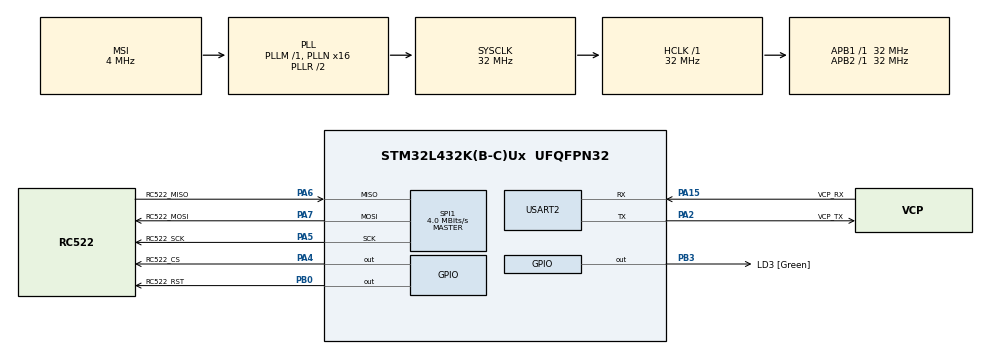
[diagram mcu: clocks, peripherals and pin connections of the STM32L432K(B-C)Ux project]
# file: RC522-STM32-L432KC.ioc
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Mcu.Family=STM32L4
Mcu.Name=STM32L432K(B-C)Ux
Mcu.Package=UFQFPN32
NVIC.PriorityGroup=NVIC_PRIORITYGROUP_4
PA0.GPIO_Label=MCO [High speed clock in]
PA0.Mode=HSE-External-Clock-Source-for-LittleOrca
PA0.Signal=RCC_CK_IN
PA4.GPIO_Label=RC522_CS
PA4.GPIO_ModeDefaultOutputPP=GPIO_MODE_OUTPUT_PP
PA4.GPIO_Speed=GPIO_SPEED_FREQ_LOW
PA4.Signal=GPIO_Output
PA5.GPIO_Label=RC522_SCK
PA5.Mode=Full_Duplex_Master
PA5.Signal=SPI1_SCK
PA6.GPIO_Label=RC522_MISO
PA6.Mode=Full_Duplex_Master
PA6.Signal=SPI1_MISO
PA7.GPIO_Label=RC522_MOSI
PA7.Mode=Full_Duplex_Master
PA7.Signal=SPI1_MOSI
PA13\ (JTMS-SWDIO).GPIO_Label=SWDIO
PA13\ (JTMS-SWDIO).Mode=Serial_Wire
PA13\ (JTMS-SWDIO).Signal=SYS_JTMS-SWDIO
PA14\ (JTCK-SWCLK).GPIO_Label=SWCLK
PA14\ (JTCK-SWCLK).Mode=Serial_Wire
PA14\ (JTCK-SWCLK).Signal=SYS_JTCK-SWCLK
PA15\ (JTDI).GPIO_Label=VCP_RX
PA15\ (JTDI).Mode=Asynchronous
PA15\ (JTDI).Signal=USART2_RX
PA2.GPIO_Label=VCP_TX
PA2.Mode=Asynchronous
PA2.Signal=USART2_TX
PB0.GPIO_Label=RC522_RST
PB0.GPIO_ModeDefaultOutputPP=GPIO_MODE_OUTPUT_PP
PB0.GPIO_Speed=GPIO_SPEED_FREQ_LOW
PB0.Signal=GPIO_Output
PB3\ (JTDO-TRACESWO).GPIO_Label=LD3 [Green]
PB3\ (JTDO-TRACESWO).Signal=GPIO_Output
PC14-OSC32_IN\ (PC14).Mode=LSE-External-Oscillator
PC14-OSC32_IN\ (PC14).Signal=RCC_OSC32_IN
PC15-OSC32_OUT\ (PC15).Mode=LSE-External-Oscillator
PC15-OSC32_OUT\ (PC15).Signal=RCC_OSC32_OUT
ProjectManager.HeapSize=0x200
ProjectManager.StackSize=0x400
ProjectManager.TargetToolchain=STM32CubeIDE
RCC.AHBFreq_Value=32000000
RCC.APB1Freq_Value=32000000
RCC.APB1TimFreq_Value=32000000
RCC.APB2Freq_Value=32000000
RCC.APB2TimFreq_Value=32000000
RCC.CortexFreq_Value=32000000
RCC.HCLKFreq_Value=32000000
RCC.HSE_VALUE=8000000
RCC.HSI16_VALUE=16000000
RCC.HSI48_VALUE=48000000
RCC.HSI_VALUE=16000000
RCC.MSI_VALUE=4000000
RCC.PLLMUL=RCC_PLLMUL_4
RCC.PLLN=16
RCC.SYSCLKFreq_VALUE=32000000
RCC.SYSCLKSource=RCC_SYSCLKSOURCE_PLLCLK
RCC.VCOOutputFreq_Value=64000000
SPI1.BaudRatePrescaler=SPI_BAUDRATEPRESCALER_8
SPI1.CalculateBaudRate=4.0 MBits/s
SPI1.CLKPhase=SPI_PHASE_1EDGE
SPI1.CLKPolarity=SPI_POLARITY_LOW
SPI1.DataSize=SPI_DATASIZE_8BIT
SPI1.Direction=SPI_DIRECTION_2LINES
SPI1.FirstBit=SPI_FIRSTBIT_MSB
SPI1.Mode=SPI_MODE_MASTER
SPI1.NSS=SPI_NSS_SOFT
SPI1.NSSPMode=SPI_NSS_PULSE_DISABLE
SPI1.TIMode=SPI_TIMODE_DISABLE
SPI1.VirtualType=VM_MASTER
USART2.VirtualMode-Asynchronous=VM_ASYNC
board=NUCLEO-L432KC

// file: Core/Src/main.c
/* USER CODE BEGIN Header */
/**
  ******************************************************************************
  * @file           : main.c
  * @brief          : Main program body
  ******************************************************************************
  * @attention
  *
  * Copyright (c) 2026 STMicroelectronics.
  * All rights reserved.
  *
  * This software is licensed under terms that can be found in the LICENSE file
  * in the root directory of this software component.
  * If no LICENSE file comes with this software, it is provided AS-IS.
  *
  ******************************************************************************
  */
/* USER CODE END Header */
#include "main.h"

/* USER CODE BEGIN Includes */
#include <stdio.h>
#include "rc522.h"
/* USER CODE END Includes */

UART_HandleTypeDef huart2;

/* USER CODE BEGIN PV */
SPI_HandleTypeDef hspi1;
/* USER CODE END PV */

void SystemClock_Config(void);
static void MX_GPIO_Init(void);
static void MX_USART2_UART_Init(void);
/* USER CODE BEGIN PFP */
static void MX_SPI1_Init(void);
/* USER CODE END PFP */

/* USER CODE BEGIN 0 */
/* Retarget printf to USART2 via syscalls.c _write → __io_putchar chain */
int __io_putchar(int ch)
{
    HAL_UART_Transmit(&huart2, (uint8_t *)&ch, 1, HAL_MAX_DELAY);
    return ch;
}
/* USER CODE END 0 */

int main(void)
{

  /* MCU Configuration--------------------------------------------------------*/

  /* Reset of all peripherals, Initializes the Flash interface and the Systick. */
  HAL_Init();

  /* Configure the system clock */
  SystemClock_Config();

  /* Initialize all configured peripherals */
  MX_GPIO_Init();
  MX_USART2_UART_Init();
  /* USER CODE BEGIN 2 */
  MX_SPI1_Init();
  RC522_Init();
  printf("RC522 RFID Reader Ready\r\n");
  /* USER CODE END 2 */

  /* Infinite loop */
  while (1)
  {

    /* USER CODE BEGIN 3 */
    uint8_t uid[5];
    uint8_t uid_len;

    if (RC522_ReadCardUID(uid, &uid_len) == MI_OK)
    {
      HAL_GPIO_WritePin(LD3_GPIO_Port, LD3_Pin, GPIO_PIN_SET);

      printf("Card UID:");
      for (uint8_t i = 0; i < uid_len; i++)
      {
        printf(" %02X", uid[i]);
      }
      printf("\r\n");

      HAL_Delay(100);
      HAL_GPIO_WritePin(LD3_GPIO_Port, LD3_Pin, GPIO_PIN_RESET);
    }

    HAL_Delay(400);
    /* USER CODE END 3 */
  }
}

void SystemClock_Config(void)
{
  RCC_OscInitTypeDef RCC_OscInitStruct = {0};
  RCC_ClkInitTypeDef RCC_ClkInitStruct = {0};

  /** Configure the main internal regulator output voltage
  */
  if (HAL_PWREx_ControlVoltageScaling(PWR_REGULATOR_VOLTAGE_SCALE1) != HAL_OK)
  {
    Error_Handler();
  }

  /** Configure LSE Drive Capability
  */
  HAL_PWR_EnableBkUpAccess();
  __HAL_RCC_LSEDRIVE_CONFIG(RCC_LSEDRIVE_LOW);

  /** Initializes the RCC Oscillators according to the specified parameters
  * in the RCC_OscInitTypeDef structure.
  */
  RCC_OscInitStruct.OscillatorType = RCC_OSCILLATORTYPE_LSE|RCC_OSCILLATORTYPE_MSI;
  RCC_OscInitStruct.LSEState = RCC_LSE_ON;
  RCC_OscInitStruct.MSIState = RCC_MSI_ON;
  RCC_OscInitStruct.MSICalibrationValue = 0;
  RCC_OscInitStruct.MSIClockRange = RCC_MSIRANGE_6;
  RCC_OscInitStruct.PLL.PLLState = RCC_PLL_ON;
  RCC_OscInitStruct.PLL.PLLSource = RCC_PLLSOURCE_MSI;
  RCC_OscInitStruct.PLL.PLLM = 1;
  RCC_OscInitStruct.PLL.PLLN = 16;
  RCC_OscInitStruct.PLL.PLLP = RCC_PLLP_DIV7;
  RCC_OscInitStruct.PLL.PLLQ = RCC_PLLQ_DIV2;
  RCC_OscInitStruct.PLL.PLLR = RCC_PLLR_DIV2;
  if (HAL_RCC_OscConfig(&RCC_OscInitStruct) != HAL_OK)
  {
    Error_Handler();
  }

  /** Initializes the CPU, AHB and APB buses clocks
  */
  RCC_ClkInitStruct.ClockType = RCC_CLOCKTYPE_HCLK|RCC_CLOCKTYPE_SYSCLK
                              |RCC_CLOCKTYPE_PCLK1|RCC_CLOCKTYPE_PCLK2;
  RCC_ClkInitStruct.SYSCLKSource = RCC_SYSCLKSOURCE_PLLCLK;
  RCC_ClkInitStruct.AHBCLKDivider = RCC_SYSCLK_DIV1;
  RCC_ClkInitStruct.APB1CLKDivider = RCC_HCLK_DIV1;
  RCC_ClkInitStruct.APB2CLKDivider = RCC_HCLK_DIV1;

  if (HAL_RCC_ClockConfig(&RCC_ClkInitStruct, FLASH_LATENCY_1) != HAL_OK)
  {
    Error_Handler();
  }

  /** Enable MSI Auto calibration
  */
  HAL_RCCEx_EnableMSIPLLMode();
}

static void MX_USART2_UART_Init(void)
{

  huart2.Instance = USART2;
  huart2.Init.BaudRate = 115200;
  huart2.Init.WordLength = UART_WORDLENGTH_8B;
  huart2.Init.StopBits = UART_STOPBITS_1;
  huart2.Init.Parity = UART_PARITY_NONE;
  huart2.Init.Mode = UART_MODE_TX_RX;
  huart2.Init.HwFlowCtl = UART_HWCONTROL_NONE;
  huart2.Init.OverSampling = UART_OVERSAMPLING_16;
  huart2.Init.OneBitSampling = UART_ONE_BIT_SAMPLE_DISABLE;
  huart2.AdvancedInit.AdvFeatureInit = UART_ADVFEATURE_NO_INIT;
  if (HAL_UART_Init(&huart2) != HAL_OK)
  {
    Error_Handler();
  }

}

static void MX_GPIO_Init(void)
{
  GPIO_InitTypeDef GPIO_InitStruct = {0};

  /* GPIO Ports Clock Enable */
  __HAL_RCC_GPIOC_CLK_ENABLE();
  __HAL_RCC_GPIOA_CLK_ENABLE();
  __HAL_RCC_GPIOB_CLK_ENABLE();

  /*Configure GPIO pin Output Level */
  HAL_GPIO_WritePin(LD3_GPIO_Port, LD3_Pin, GPIO_PIN_RESET);

  /*Configure GPIO pin : LD3_Pin */
  GPIO_InitStruct.Pin = LD3_Pin;
  GPIO_InitStruct.Mode = GPIO_MODE_OUTPUT_PP;
  GPIO_InitStruct.Pull = GPIO_NOPULL;
  GPIO_InitStruct.Speed = GPIO_SPEED_FREQ_LOW;
  HAL_GPIO_Init(LD3_GPIO_Port, &GPIO_InitStruct);

}

/* USER CODE BEGIN 4 */

/**
  * @brief SPI1 Initialization Function
  *   PA5 = SPI1_SCK (AF5)   PA6 = SPI1_MISO (AF5)   PA7 = SPI1_MOSI (AF5)
  *   PA4 = RC522_CS  (GPIO output, active LOW)
  *   PB0 = RC522_RST (GPIO output, active HIGH)
  */
static void MX_SPI1_Init(void)
{
  GPIO_InitTypeDef GPIO_InitStruct = {0};

  __HAL_RCC_SPI1_CLK_ENABLE();
  /* GPIOA and GPIOB clocks already enabled by MX_GPIO_Init */

  /* PA5=SCK, PA6=MISO, PA7=MOSI — alternate function SPI1 */
  GPIO_InitStruct.Pin       = GPIO_PIN_5 | GPIO_PIN_6 | GPIO_PIN_7;
  GPIO_InitStruct.Mode      = GPIO_MODE_AF_PP;
  GPIO_InitStruct.Pull      = GPIO_NOPULL;
  GPIO_InitStruct.Speed     = GPIO_SPEED_FREQ_VERY_HIGH;
  GPIO_InitStruct.Alternate = GPIO_AF5_SPI1;
  HAL_GPIO_Init(GPIOA, &GPIO_InitStruct);

  /* PA4 = CS, start HIGH (deselected) */
  HAL_GPIO_WritePin(SPI_CS_GPIO_Port, SPI_CS_Pin, GPIO_PIN_SET);
  GPIO_InitStruct.Pin       = SPI_CS_Pin;
  GPIO_InitStruct.Mode      = GPIO_MODE_OUTPUT_PP;
  GPIO_InitStruct.Pull      = GPIO_NOPULL;
  GPIO_InitStruct.Speed     = GPIO_SPEED_FREQ_LOW;
  GPIO_InitStruct.Alternate = 0;
  HAL_GPIO_Init(SPI_CS_GPIO_Port, &GPIO_InitStruct);

  /* PB0 = RST, start HIGH (not in reset) */
  HAL_GPIO_WritePin(RC522_RST_GPIO_Port, RC522_RST_Pin, GPIO_PIN_SET);
  GPIO_InitStruct.Pin = RC522_RST_Pin;
  HAL_GPIO_Init(RC522_RST_GPIO_Port, &GPIO_InitStruct);

  /* SPI1: master, mode 0 (CPOL=0, CPHA=0), 8-bit, MSB, software NSS */
  hspi1.Instance               = SPI1;
  hspi1.Init.Mode              = SPI_MODE_MASTER;
  hspi1.Init.Direction         = SPI_DIRECTION_2LINES;
  hspi1.Init.DataSize          = SPI_DATASIZE_8BIT;
  hspi1.Init.CLKPolarity       = SPI_POLARITY_LOW;
  hspi1.Init.CLKPhase          = SPI_PHASE_1EDGE;
  hspi1.Init.NSS               = SPI_NSS_SOFT;
  hspi1.Init.BaudRatePrescaler = SPI_BAUDRATEPRESCALER_8;  /* 32 MHz / 8 = 4 MHz */
  hspi1.Init.FirstBit          = SPI_FIRSTBIT_MSB;
  hspi1.Init.TIMode            = SPI_TIMODE_DISABLE;
  hspi1.Init.CRCCalculation    = SPI_CRCCALCULATION_DISABLE;
  hspi1.Init.CRCPolynomial     = 7;
  hspi1.Init.CRCLength         = SPI_CRC_LENGTH_DATASIZE;
  hspi1.Init.NSSPMode          = SPI_NSS_PULSE_DISABLE;

  if (HAL_SPI_Init(&hspi1) != HAL_OK)
  {
    Error_Handler();
  }
}

/* USER CODE END 4 */

void Error_Handler(void)
{
  __disable_irq();
  while (1)
  {
  }
}
